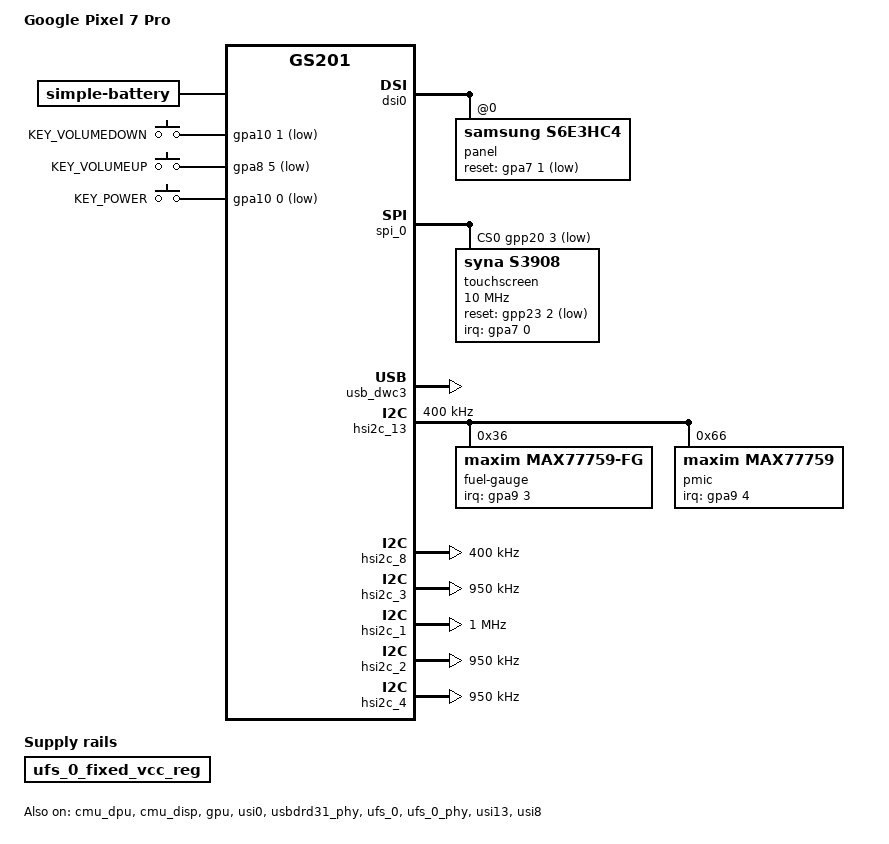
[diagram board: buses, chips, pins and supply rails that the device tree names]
// SPDX-License-Identifier: GPL-2.0-only
/*
 * Google Pixel 7 Pro (cheetah) - M1 bring-up board file.
 */

/dts-v1/;

#include <dt-bindings/input/input.h>
#include <dt-bindings/media/video-interfaces.h>
#include <dt-bindings/soc/samsung,exynos-usi.h>
#include <dt-bindings/usb/pd.h>
#include "gs201.dtsi"

/ {
	model = "Google Pixel 7 Pro";
	compatible = "google,gs201-cheetah", "google,gs201";

	/*
	 * ABL base-DTB match: (product id 0x09855000 | major rev). B0 = 1.
	 * Ship a second copy with 0x09855000 in the dtb section to be safe.
	 */
	soc_id = <0x09855001 0x0>;

	aliases {
		spi0 = &spi_0;
	};

	chosen {
		/*
		 * ABL requires bootargs to exist; it appends its own after these.
		 * mem_sleep_default=s2idle: the firmware offers PSCI system
		 * suspend, so "mem" would otherwise mean "deep", which needs a
		 * PMU sleep sequence the kernel doesn't have yet.
		 */
		bootargs = "console=tty0 fbcon=font:TER16x32 quiet splash plymouth.force-scale=1 vt.global_cursor_default=0 panic=10 clk_ignore_unused pd_ignore_unused rdinit=/init omamobile.ufs-probe mem_sleep_default=s2idle";
		#address-cells = <2>;
		#size-cells = <1>;
		ranges;

		framebuffer0: framebuffer@fac00000 {
			compatible = "simple-framebuffer";
			memory-region = <&cont_splash_mem>;
			width = <1440>;
			height = <3120>;
			stride = <(1440 * 4)>;
			format = "a8r8g8b8";
			panel = <&panel>;
			/*
			 * Only the panel's size is read; simplefb must not wait for
			 * the panel device (it appears with the DSI host driver).
			 */
			post-init-providers = <&panel>;
		};
	};

	battery: battery {
		compatible = "simple-battery";
		charge-full-design-microamp-hours = <4926000>;
		/* Google's fv-max-uv; VEmpty of the gauge model */
		voltage-max-design-microvolt = <4450000>;
		voltage-min-design-microvolt = <3300000>;
	};

	gpio-keys {
		compatible = "gpio-keys";
		pinctrl-0 = <&key_voldown>, <&key_volup>, <&key_power>;
		pinctrl-names = "default";

		button-vol-down {
			label = "KEY_VOLUMEDOWN";
			linux,code = <KEY_VOLUMEDOWN>;
			gpios = <&gpa10 1 GPIO_ACTIVE_LOW>;
			wakeup-source;
		};

		button-vol-up {
			label = "KEY_VOLUMEUP";
			linux,code = <KEY_VOLUMEUP>;
			gpios = <&gpa8 5 GPIO_ACTIVE_LOW>;
			wakeup-source;
		};

		/*
		 * PMIC_PWRON_OD_L: the S2MPG12 PWRONB line, also wired to the
		 * SoC. The PMIC's own long-press reset is unaffected.
		 */
		button-power {
			label = "KEY_POWER";
			linux,code = <KEY_POWER>;
			gpios = <&gpa10 0 GPIO_ACTIVE_LOW>;
			wakeup-source;
		};
	};

	/*
	 * UFS VCC. Google drives it from GPIO gpp0-1 (boot-on); there is no
	 * gs201 GPIO driver yet, so describe it as always on, as the
	 * bootloader leaves it.
	 */
	ufs_0_fixed_vcc_reg: regulator-ufs-vcc {
		compatible = "regulator-fixed";
		regulator-name = "ufs-vcc";
		regulator-always-on;
		regulator-boot-on;
	};

	reserved-memory {
		#address-cells = <2>;
		#size-cells = <1>;
		ranges;

		/*
		 * Camera capture buffers: the CSIS WDMA takes 32-bit addresses
		 * and its SysMMU is left in bypass, so frames go to contiguous
		 * memory below 4 GiB. Four 12.5 MP RAW10 frames are about
		 * 63 MiB; reusable, so the pages serve movable allocations while
		 * no camera streams.
		 */
		camera_pool: camera-pool {
			compatible = "shared-dma-pool";
			reusable;
			size = <0x8000000>;
			/* read with the root's #address-cells (2), not #size-cells */
			alignment = <0x0 0x200000>;
			alloc-ranges = <0x0 0x80000000 0x80000000>;
		};

		/* [I] verify against the ABL-injected node in /sys/firmware/fdt */
		/*
		 * Same region and layout as stock Android, so a log written by
		 * this kernel can be read from /sys/fs/pstore after a warm
		 * reboot into the stock slot.
		 */
		ramoops@fd3ff000 {
			compatible = "ramoops";
			reg = <0x0 0xfd3ff000 0x400000>;
			console-size = <0x200000>;
			pmsg-size = <0x200000>;
		};

		cont_splash_mem: splash@fac00000 {
			reg = <0x0 0xfac00000 (1440 * 3120 * 4)>;
			no-map;
		};
	};
};

&acpm_ipc {
	/*
	 * Main PMIC, for its RTC (the wake-up timer for suspend tests). The
	 * driver only reads and writes the RTC and the interrupt masks; the
	 * rails stay as the bootloader set them. Disabled until proven on
	 * the phone (SUSPEND-PLAN.md).
	 */
	pmic-1 {
		compatible = "samsung,s2mpg12-pmic";
		interrupts = <GIC_SPI 72 IRQ_TYPE_LEVEL_HIGH>;
		google,vgpio2ap-sysreg = <&sysreg_vgpio2ap>;
		wakeup-source;
		status = "disabled";
	};

	/*
	 * Sub PMIC, for its LDOs (GNSS first). Only the LDO control
	 * registers are writable through it, and only rails described
	 * below can be switched; the rest have no constraints and are left
	 * as the bootloader set them. No interrupt yet (gpa0-1 on stock).
	 * Disabled until proven on the phone (GNSS-PLAN.md, G1).
	 */
	pmic-2 {
		compatible = "samsung,s2mpg13-pmic";
		status = "disabled";

		/*
		 * GPIO0 wakes the camera PMIC (SLG51002 chip select), GPIO1
		 * enables PP3200_BB_CAM and GPIO3 PP1300_CAM; the others are
		 * unused on cheetah. Nothing here switches a pin: only the
		 * camera nodes below, disabled until camera-pwr-test, do.
		 */
		pmic_2_gpio: gpio {
			compatible = "samsung,s2mpg13-gpio";
			gpio-controller;
			#gpio-cells = <2>;
		};

		regulators {
			/*
			 * GNSS: L9S_GNSS_CORE, L10S_GNSS_RF, L11S_GNSS_AUX.
			 * The ranges are stock's, so nothing sets a voltage
			 * at probe; they are switched by the GNSS driver.
			 */
			ldo9s: ldo9s {
				regulator-name = "vdd_gnss_core";
				regulator-min-microvolt = <725000>;
				regulator-max-microvolt = <1300000>;
			};

			ldo10s: ldo10s {
				regulator-name = "vdd_gnss_rf";
				regulator-min-microvolt = <1600000>;
				regulator-max-microvolt = <1950000>;
			};

			ldo11s: ldo11s {
				regulator-name = "vdd_gnss_aux";
				regulator-min-microvolt = <1600000>;
				regulator-max-microvolt = <1950000>;
			};

			/*
			 * Fingerprint: L15S_UDFPS_AVDD, the sensor's analog
			 * supply, with stock's range. Off at hand-off (stock
			 * keeps it on only through regulator-always-on);
			 * switched by the goodix-fp driver.
			 */
			ldo15s: ldo15s {
				regulator-name = "vdd_udfps";
				regulator-min-microvolt = <2500000>;
				regulator-max-microvolt = <3300000>;
			};

			/*
			 * L12S_CAMIO: the 1.8 V I/O supply of every camera
			 * sensor, EEPROM, actuator and the laser AF. Stock
			 * voltage. Disabled (so not described, and never
			 * switched) until camera-pwr-test.
			 */
			ldo12s: ldo12s {
				regulator-name = "vddio_cam";
				regulator-min-microvolt = <1800000>;
				regulator-max-microvolt = <1800000>;
				status = "disabled";
			};
		};
	};
};

&dsi0 {
	/*
	 * The bootloader leaves DECON0 -> DSIM0 -> panel running in command
	 * mode; simplefb scans out its framebuffer and reads the panel size
	 * here. Enabled only for display bring-up (DISPLAY-PLAN.md, gate D1).
	 */
	status = "okay";

	panel: panel@0 {
		compatible = "samsung,s6e3hc4";
		reg = <0>;
		/* high = running; the bootloader leaves it high */
		reset-gpios = <&gpa7 1 GPIO_ACTIVE_LOW>;
		/* vddi (S2MPG13 BUCKA), vddd (S2MPG12 LDO28), vci (LDO27): no driver yet */
		width-mm = <71>;
		height-mm = <155>;
	};
};

/* Display bring-up, gate D1b: the DPU and DISP clock controllers. */
&cmu_dpu {
	status = "okay";
};

&cmu_disp {
	status = "okay";
};

&gpu {
	/* No mali-supply: the G3D rails follow the PMU power domain and ACPM. */
	status = "okay";
};

/* Touchscreen: Synaptics S3908 on USI0 SPI */
&usi0 {
	samsung,mode = <USI_MODE_SPI>;
	status = "okay";
};

&spi_0 {
	pinctrl-0 = <&spi0_bus &spi0_miso &spi0_cs_gpio>;
	cs-gpios = <&gpp20 3 GPIO_ACTIVE_LOW>;
	num-cs = <1>;
	status = "okay";

	/*
	 * The 1.8 V (VDD) and 3.3 V (AVDD) supplies are S2MPG12 LDO25M and
	 * LDO26M. There is no S2MPG12 regulator driver yet; the bootloader
	 * leaves both on.
	 */
	touchscreen@0 {
		compatible = "syna,s3908";
		reg = <0>;
		spi-max-frequency = <10000000>;
		interrupt-parent = <&gpa7>;
		interrupts = <0 IRQ_TYPE_LEVEL_LOW>;
		reset-gpios = <&gpp23 2 GPIO_ACTIVE_LOW>;
		pinctrl-0 = <&ts_irq &ts_reset>;
		pinctrl-names = "default";
		touchscreen-x-mm = <71>;
		touchscreen-y-mm = <154>;
	};
};

&usbdrd31_phy {
	status = "okay";
};

&usb_dwc3 {
	status = "okay";
};

&ufs_0 {
	vcc-supply = <&ufs_0_fixed_vcc_reg>;
	status = "okay";
};

&ufs_0_phy {
	status = "okay";
};

/*
 * MAX77759 (charger, Type-C port controller, fuel gauge) on USI13. All of
 * its interrupt lines are on ALIVE gpa9, active low with pull-ups.
 *
 * The Type-C port controller stays disabled: the USB link is our only way
 * into the phone, and TCPM would take over VBUS and data role from the
 * forced-VBUS setup the USB PHY uses today. The charger has no DT node of
 * its own (it is an MFD cell of pmic@66); note that its probe turns
 * charging off until a "tcpm-source" power supply reports a source, so do
 * not load it before the Type-C side works.
 */
&usi13 {
	samsung,mode = <USI_MODE_I2C>;
	status = "okay";
};

&hsi2c_13 {
	clock-frequency = <400000>;
	status = "okay";

	usb-typec@25 {
		compatible = "maxim,max77759-tcpci", "maxim,max33359";
		reg = <0x25>;
		interrupts-extended = <&gpa9 7 IRQ_TYPE_LEVEL_LOW>;
		pinctrl-0 = <&typec_int>;
		pinctrl-names = "default";
		status = "disabled";

		/*
		 * Power roles and PDOs as on gs101 (the same MAX77759 design).
		 * PD stays off, and the orientation/role-switch ports to the
		 * USB PHY and dwc3 come with the Type-C work.
		 */
		connector {
			compatible = "usb-c-connector";
			label = "USB-C";
			data-role = "dual";
			power-role = "dual";
			self-powered;
			try-power-role = "sink";
			op-sink-microwatt = <2600000>;
			source-pdos = <PDO_FIXED(5000, 900,
						 (PDO_FIXED_SUSPEND
						  | PDO_FIXED_USB_COMM
						  | PDO_FIXED_DATA_SWAP
						  | PDO_FIXED_DUAL_ROLE))>;
			sink-pdos = <PDO_FIXED(5000, 3000,
					       (PDO_FIXED_DATA_SWAP
						| PDO_FIXED_USB_COMM
						| PDO_FIXED_HIGHER_CAP
						| PDO_FIXED_DUAL_ROLE))
				     PDO_FIXED(9000, 2200, 0)
				     PDO_PPS_APDO(5000, 11000, 3000)>;
			pd-disable;
			typec-power-opmode = "default";
		};
	};

	fuel-gauge@36 {
		compatible = "maxim,max77759-fg";
		reg = <0x36>;
		interrupts-extended = <&gpa9 3 IRQ_TYPE_LEVEL_LOW>;
		pinctrl-0 = <&if_pmic_fg_int>;
		pinctrl-names = "default";
		/* maxim,rsense-default = <500> (10 uOhm units) in Google's tree */
		shunt-resistor-micro-ohms = <5000>;
		monitored-battery = <&battery>;

		/*
		 * Battery model for the pack with a 1 kOhm ID resistor, the one
		 * this phone has (stock: "device battery RID: 1 kohm"). From
		 * Google's gs201-cheetah-battery-data.dtsi (cos-a1-1k, model
		 * version 1), except RelaxCfg 0x143b and FilterCfg 0xc613, the
		 * values stock writes over the model's at boot (r_regval_1720x,
		 * filtercfg-default). TaskPeriod 0x2d00 makes one capacity LSB
		 * 2 mAh with 5 mOhm: DesignCap 0x09c5 = 5002 mAh.
		 */
		maxim,fg-model = /bits/ 16 <
			0xa4e0 0xb750 0xb8a0 0xba60 0xbc10 0xbdd0 0xbf30 0xc070
			0xc1e0 0xc4b0 0xc7f0 0xcd80 0xd130 0xd4e0 0xd920 0xdca0
			0x0120 0x1240 0x0c00 0x12a0 0x1400 0x1700 0x1060 0x0fd0
			0x07e0 0x07f0 0x07c0 0x06d0 0x06c0 0x06f0 0x0640 0x0640
			0x0200 0x0200 0x0200 0x0200 0x0200 0x0200 0x0200 0x0200
			0x0200 0x0200 0x0200 0x0200 0x0200 0x0200 0x0200 0x0200
		>;
		maxim,fg-params = /bits/ 16 <
			0xf060	/* IAvgEmpty */
			0x143b	/* RelaxCfg */
			0x260e	/* LearnCfg */
			0x4217	/* Config: external thermistor, TEx clear */
			0x0090	/* Config2 */
			0x5f00	/* FullSOCThr */
			0x09c5	/* FullCapRep */
			0x09c5	/* DesignCap */
			0x3200	/* dPAcc */
			0x0271	/* dQAcc */
			0x09c5	/* FullCapNom */
			0xa561	/* VEmpty */
			0x2080	/* QRTable00 */
			0x0e80	/* QRTable10 */
			0x0580	/* QRTable20 */
			0x0480	/* QRTable30 */
			0x0770	/* RComp0 */
			0x2202	/* TempCo */
			0x0628	/* IChgTerm */
			0xed51	/* TGain */
			0x1eba	/* TOff */
			0x0014	/* Curve */
			0x3870	/* MiscCfg */
			0x1900	/* AtRate */
			0x2241	/* ConvgCfg */
			0xc613	/* FilterCfg */
			0x2d00	/* TaskPeriod */
		>;
	};

	pmic@66 {
		compatible = "maxim,max77759";
		reg = <0x66>;
		interrupts-extended = <&gpa9 4 IRQ_TYPE_LEVEL_LOW>;
		pinctrl-0 = <&if_pmic_int>;
		pinctrl-names = "default";
		interrupt-controller;
		#interrupt-cells = <2>;

		gpio {
			compatible = "maxim,max77759-gpio";
			gpio-controller;
			#gpio-cells = <2>;
			interrupt-controller;
			#interrupt-cells = <2>;
		};
	};
};

/*
 * PERIC0 USI8 (Google's I2C bus 8) carries the camera PMIC; its bus pins
 * are on PERIC0 (gpp16-0/1).
 */
&pinctrl_peric0 {
	status = "okay";
};

&usi8 {
	samsung,mode = <USI_MODE_I2C>;
	status = "okay";
};

&hsi2c_8 {
	clock-frequency = <400000>;
	status = "okay";
};

&pinctrl_gpio_alive {
	if_pmic_fg_int: if-pmic-fg-int-pins {
		samsung,pins = "gpa9-3";
		samsung,pin-function = <GS101_PIN_FUNC_EINT>;
		samsung,pin-pud = <GS101_PIN_PULL_UP>;
		samsung,pin-drv = <GS101_PIN_DRV_2_5_MA>;
	};

	if_pmic_int: if-pmic-int-pins {
		samsung,pins = "gpa9-4";
		samsung,pin-function = <GS101_PIN_FUNC_EINT>;
		samsung,pin-pud = <GS101_PIN_PULL_UP>;
		samsung,pin-drv = <GS101_PIN_DRV_2_5_MA>;
	};

	typec_int: typec-int-pins {
		samsung,pins = "gpa9-7";
		samsung,pin-function = <GS101_PIN_FUNC_EINT>;
		samsung,pin-pud = <GS101_PIN_PULL_UP>;
		samsung,pin-drv = <GS101_PIN_DRV_2_5_MA>;
	};
};

/*
 * Camera power (CAMERA-PLAN.md 1.2), from Google's GPL pantah camera PMIC
 * device tree: two fixed supplies switched by S2MPG13 GPIOs feed the
 * SLG51002 camera PMIC on I2C bus 8, which with LDO12S powers the modules.
 * Voltages are stock's. All disabled until the camera-pwr-test overlay; the
 * new drivers are blacklisted from autoload as well.
 */
/ {
	pp3200_bb_cam: regulator-pp3200-bb-cam {
		compatible = "regulator-fixed";
		regulator-name = "PP3200_BB_CAM";
		regulator-min-microvolt = <3200000>;
		regulator-max-microvolt = <3200000>;
		regulator-enable-ramp-delay = <2000>;
		gpio = <&pmic_2_gpio 1 GPIO_ACTIVE_HIGH>;
		enable-active-high;
		status = "disabled";
	};

	pp1300_cam: regulator-pp1300-cam {
		compatible = "regulator-fixed";
		regulator-name = "PP1300_CAM";
		regulator-min-microvolt = <1300000>;
		regulator-max-microvolt = <1300000>;
		regulator-enable-ramp-delay = <2000>;
		gpio = <&pmic_2_gpio 3 GPIO_ACTIVE_HIGH>;
		enable-active-high;
		status = "disabled";
	};
};

&hsi2c_8 {
	cam_pmic: pmic@75 {
		compatible = "dlg,slg51002";
		reg = <0x75>;
		dlg,cs-gpios = <&pmic_2_gpio 0 GPIO_ACTIVE_HIGH>;
		vin1-2-supply = <&pp3200_bb_cam>;
		vin3-supply = <&pp3200_bb_cam>;
		vin4-supply = <&pp3200_bb_cam>;
		vin5-supply = <&pp3200_bb_cam>;
		vin6-supply = <&pp1300_cam>;
		vin7-supply = <&pp1300_cam>;
		vin8-supply = <&pp1300_cam>;
		status = "disabled";

		regulators {
			cam_ldo1: ldo1 {
				regulator-name = "vdda_main";
				regulator-min-microvolt = <2850000>;
				regulator-max-microvolt = <2850000>;
			};

			cam_ldo2: ldo2 {
				regulator-name = "vdda_uw";
				regulator-min-microvolt = <2850000>;
				regulator-max-microvolt = <2850000>;
			};

			cam_ldo3: ldo3 {
				regulator-name = "vdda_tele";
				regulator-min-microvolt = <2250000>;
				regulator-max-microvolt = <2250000>;
			};

			cam_ldo4: ldo4 {
				regulator-name = "vdd_main_af";
				regulator-min-microvolt = <2900000>;
				regulator-max-microvolt = <2900000>;
			};

			cam_ldo5: ldo5 {
				regulator-name = "vdd_tele_module";
				regulator-min-microvolt = <2850000>;
				regulator-max-microvolt = <2850000>;
			};

			cam_ldo6: ldo6 {
				regulator-name = "vddd_uw";
				regulator-min-microvolt = <1100000>;
				regulator-max-microvolt = <1100000>;
			};

			cam_ldo7: ldo7 {
				regulator-name = "vddd_tele";
				regulator-min-microvolt = <1000000>;
				regulator-max-microvolt = <1000000>;
			};

			cam_ldo8: ldo8 {
				regulator-name = "vddd_main_front";
				regulator-min-microvolt = <1100000>;
				regulator-max-microvolt = <1100000>;
			};

			cam_sw1: sw1 {
				regulator-name = "cam_sw1";
			};

			cam_sw2: sw2 {
				regulator-name = "cam_sw2";
			};

			cam_sw3: sw3 {
				regulator-name = "cam_sw3";
			};

			cam_sw4: sw4 {
				regulator-name = "cam_sw4";
			};
		};
	};
};

/*
 * Ultrawide camera module on PERIC0 USI3 (Google's I2C bus 3): sensor at
 * 0x1a (16-bit addresses, 8-bit values), module EEPROM at 0x50 (not
 * described), AF actuator at 0x0f. Stock power-up: PP3200_BB, PP1300,
 * LDO12S, LDO6, LDO2, 1 ms, MCLK on (CIS_CLK0 on gpp3-0), 1 ms, reset
 * released, 10 ms.
 */
&usi3 {
	samsung,mode = <USI_MODE_I2C>;
};

&hsi2c_3 {
	clock-frequency = <950000>;

};

&pinctrl_peric0 {
	cam_uw_mclk_on: cam-uw-mclk-on-pins {
		samsung,pins = "gpp3-0";
		samsung,pin-function = <GS101_PIN_FUNC_2>;
		samsung,pin-pud = <GS101_PIN_PULL_NONE>;
		samsung,pin-drv = <GS101_PIN_DRV_2_5_MA>;
	};
};

/*
 * Ultrawide capture (CAMERA-PLAN.md CAM3b/CAM4): the Sony IMX386 [HAL model
 * ID 0x0386] on four D-PHY lanes at 1548 Mbps per lane, through CSIS link 2
 * (DC-PHY slaves 2 and 3 as one four-lane receiver) and CSIS WDMA context 0
 * to memory. With the sensor streaming, links 0 and 1 see nothing; link 2 is
 * where its data arrives. All disabled; the camera-stream-link2 overlay
 * enables the path and the drivers are blacklisted as well. The MCLK runs
 * from the 24.576 MHz oscillator, as the stock sensor settings expect.
 */
&hsi2c_3 {
	camera-sensor@1a {
		compatible = "sony,imx386";
		reg = <0x1a>;
		clocks = <&cmu_top CLK_DOUT_CMU_CIS_CLK0>;
		assigned-clocks = <&cmu_top CLK_DOUT_CMU_CIS_CLK0>;
		assigned-clock-rates = <24576000>;
		pinctrl-names = "default";
		pinctrl-0 = <&cam_uw_mclk_on>;
		reset-gpios = <&gpp6 3 GPIO_ACTIVE_LOW>;
		/* stock's order: PP3200_BB, PP1300, LDO12S, LDO6, LDO2 */
		vbb-supply = <&pp3200_bb_cam>;
		vbuck-supply = <&pp1300_cam>;
		vif-supply = <&ldo12s>;
		vdig-supply = <&cam_ldo6>;
		vana-supply = <&cam_ldo2>;
		firmware-name = "omamobile/camera/imx386-uw.bin";
		/* 360 still let an odd frame of the 4032x3016 mode drop lines */
		sony,max-line-throughput = <330>;
		orientation = <1>;	/* back */
		rotation = <270>;	/* mounted the other way from the main camera (upside down at 90) */
		status = "disabled";

		port {
			uw_out: endpoint {
				remote-endpoint = <&csis2_in>;
				data-lanes = <1 2 3 4>;
				link-frequencies = /bits/ 64 <774144000>;
			};
		};
	};
};

&csis2 {
	memory-region = <&camera_pool>;
};

&csis2_in {
	remote-endpoint = <&uw_out>;
	data-lanes = <1 2 3 4>;
};

&csis_dcphy {
	/* receive settings, generated from the phone's own camera software */
	firmware-name = "omamobile/camera/gs201-dcphy.bin";
};

/*
 * Ultrawide focus (CAMERA-PLAN.md CAM5.3): an AKM AK7375-type VCM driver at
 * 0x0f on the ultrawide's bus (stock "act-slenderman-sandworm"), on LDO12S
 * and the camera PMIC's LDO4 (2.9 V). Disabled; the camera-uw-lens overlay
 * enables it and links it to the sensor (lens-focus), and the ak7375
 * module must then load with the others or the media graph waits for it.
 */
&hsi2c_3 {
	uw_vcm: lens@f {
		compatible = "asahi-kasei,ak7375";
		reg = <0x0f>;
		vdd-supply = <&cam_ldo4>;
		vio-supply = <&ldo12s>;
		status = "disabled";
	};
};

/*
 * Main camera (CAMERA-PLAN.md CAM-M): the Samsung S5KGN1 [chip ID 0x08e1]
 * at 0x3d on PERIC0 USI1 (Google's I2C bus 1, 1 MHz as stock), three C-PHY
 * trios to CSIS link 1, then CSIS WDMA context 0 as the ultrawide. Its AF
 * VCM driver is an AK7375-type at 0x0c; the module's OIS/EEPROM controller
 * (0x24) and the laser AF (0x29) on the same bus are not described. Stock
 * power-up: PP3200_BB, PP1300, LDO12S, LDO4, 1 ms, SLG switch 3, LDO8,
 * LDO1, 2 ms, reset released, 1 ms, MCLK on (CIS_CLK3 on gpp9-0), 9 ms.
 * The sensor settings expect a 24.576 MHz clock (their EXCK register).
 * All disabled; the camera-main overlay enables them, and the drivers are
 * blacklisted as well.
 */
&usi1 {
	samsung,mode = <USI_MODE_I2C>;
};

&hsi2c_1 {
	clock-frequency = <1000000>;

	main_vcm: lens@c {
		compatible = "asahi-kasei,ak7375";
		reg = <0x0c>;
		vdd-supply = <&cam_ldo4>;
		vio-supply = <&ldo12s>;
		status = "disabled";
	};

	camera-sensor@3d {
		compatible = "samsung,s5kgn1";
		reg = <0x3d>;
		clocks = <&cmu_top CLK_DOUT_CMU_CIS_CLK3>;
		assigned-clocks = <&cmu_top CLK_DOUT_CMU_CIS_CLK3>;
		assigned-clock-rates = <24576000>;
		pinctrl-names = "default";
		pinctrl-0 = <&cam_main_mclk_on>;
		reset-gpios = <&gpp2 2 GPIO_ACTIVE_LOW>;
		vbb-supply = <&pp3200_bb_cam>;
		vbuck-supply = <&pp1300_cam>;
		vio-supply = <&ldo12s>;
		vaux-supply = <&cam_ldo4>;
		vsw-supply = <&cam_sw3>;
		vdig-supply = <&cam_ldo8>;
		vana-supply = <&cam_ldo1>;
		firmware-name = "omamobile/camera/s5kgn1-main.bin";
		/* the CSIS WDMA drops lines arriving above ~400 MB/s */
		samsung,max-line-throughput = <360>;
		orientation = <1>;	/* back */
		rotation = <90>;	/* upright in Snapshot with the phone in portrait */
		status = "disabled";

		port {
			main_out: endpoint {
				remote-endpoint = <&csis1_in>;
				bus-type = <MEDIA_BUS_TYPE_CSI2_CPHY>;
				data-lanes = <1 2 3>;
				/* half the trio symbol rate [I], from the data file */
				link-frequencies = /bits/ 64 <931229968>;
			};
		};
	};
};

&pinctrl_peric0 {
	cam_main_mclk_on: cam-main-mclk-on-pins {
		samsung,pins = "gpp9-0";
		samsung,pin-function = <GS101_PIN_FUNC_2>;
		samsung,pin-pud = <GS101_PIN_PULL_NONE>;
		samsung,pin-drv = <GS101_PIN_DRV_2_5_MA>;
	};
};

&csis1 {
	memory-region = <&camera_pool>;
};

&csis1_in {
	remote-endpoint = <&main_out>;
	bus-type = <MEDIA_BUS_TYPE_CSI2_CPHY>;
	data-lanes = <1 2 3>;
};

/*
 * Front camera (CAMERA-PLAN.md CAM7): the Samsung S5K3J1 [chip ID 0x30a1]
 * at 0x10 on PERIC0 USI2 (Google's I2C bus 2, 950 kHz as stock), four
 * D-PHY lanes to CSIS link 0, then CSIS WDMA context 0 as the others. Fixed
 * focus; the module EEPROM at 0x51 is not described. Stock power-up:
 * PP3200_BB, PP1300, LDO12S, LDO8, SLG switch 4, 1 ms, MCLK on (CIS_CLK1
 * on gpp5-0), 1 ms, reset released (gpp4-2), 8 ms. Its settings expect the
 * 24.576 MHz oscillator as the other cameras' do. All disabled; the
 * camera-front overlay enables them, and the drivers are blacklisted.
 */
&usi2 {
	samsung,mode = <USI_MODE_I2C>;
};

&hsi2c_2 {
	clock-frequency = <950000>;

	camera-sensor@10 {
		compatible = "samsung,s5k3j1";
		reg = <0x10>;
		clocks = <&cmu_top CLK_DOUT_CMU_CIS_CLK1>;
		assigned-clocks = <&cmu_top CLK_DOUT_CMU_CIS_CLK1>;
		assigned-clock-rates = <24576000>;
		pinctrl-names = "default";
		pinctrl-0 = <&cam_front_mclk_on>;
		reset-gpios = <&gpp4 2 GPIO_ACTIVE_LOW>;
		vbb-supply = <&pp3200_bb_cam>;
		vbuck-supply = <&pp1300_cam>;
		vio-supply = <&ldo12s>;
		vdig-supply = <&cam_ldo8>;
		vsw-supply = <&cam_sw4>;
		firmware-name = "omamobile/camera/s5k3j1-front.bin";
		samsung,max-line-throughput = <360>;
		orientation = <0>;	/* front */
		rotation = <90>;	/* upside down at 270 in Snapshot */
		status = "disabled";

		port {
			front_out: endpoint {
				remote-endpoint = <&csis0_in>;
				data-lanes = <1 2 3 4>;
				/* 1665 Mbps per lane, from the data file [I] */
				link-frequencies = /bits/ 64 <832512000>;
			};
		};
	};
};

&csis0 {
	memory-region = <&camera_pool>;
};

&csis0_in {
	remote-endpoint = <&front_out>;
	data-lanes = <1 2 3 4>;
};

/*
 * Telephoto (CAMERA-PLAN.md CAM-T): the Samsung S5KGM5 [chip ID 0x08d5] at
 * 0x2d on PERIC0 USI4 (Google's I2C bus 4, 1 MHz as stock), two C-PHY
 * trios to CSIS link 4 / DC-PHY slave 4, which also needs to expect its
 * LRTE packet delimiters [I]. The folded optics mirror the image, which
 * the sensor undoes with a vertical readout flip [I]. Stock power-up:
 * PP3200_BB, PP1300, LDO12S, 0.3 ms, LDO7, LDO3, MCLK on (CIS_CLK2 on
 * gpp7-0), 1 ms, reset released (gpp6-2), 10 ms. Its SEM1215SA at 0x34
 * drives focus and OIS and holds the module's calibration; stock powers
 * it from LDO12S, 1 ms, SLG LDO5 2.85 V and switch 1. gpp8-2 (the torch's
 * HWEN) shares the bank with this bus's pins. All disabled; the
 * camera-tele overlay enables them, and the drivers are blacklisted.
 */
&usi4 {
	samsung,mode = <USI_MODE_I2C>;
};

&hsi2c_4 {
	/*
	 * Below 1 MHz: i2c-exynos5 runs 1 MHz as high-speed mode (master
	 * code first), which stock's driver doesn't without samsung,hs-mode;
	 * the telephoto's SEM1215SA lens hung the bus in it.
	 */
	clock-frequency = <950000>;

	camera-sensor@2d {
		compatible = "samsung,s5kgm5";
		reg = <0x2d>;
		clocks = <&cmu_top CLK_DOUT_CMU_CIS_CLK2>;
		assigned-clocks = <&cmu_top CLK_DOUT_CMU_CIS_CLK2>;
		assigned-clock-rates = <24576000>;
		pinctrl-names = "default";
		pinctrl-0 = <&cam_tele_mclk_on>;
		reset-gpios = <&gpp6 2 GPIO_ACTIVE_LOW>;
		vbb-supply = <&pp3200_bb_cam>;
		vbuck-supply = <&pp1300_cam>;
		vio-supply = <&ldo12s>;
		vdig-supply = <&cam_ldo7>;
		vana-supply = <&cam_ldo3>;
		firmware-name = "omamobile/camera/s5kgm5-tele.bin";
		samsung,max-line-throughput = <360>;
		samsung,vertical-flip;
		orientation = <1>;	/* back */
		rotation = <270>;	/* with the vertical flip: upside down at 90 in Snapshot */
		status = "disabled";

		port {
			tele_out: endpoint {
				remote-endpoint = <&csis4_in>;
				bus-type = <MEDIA_BUS_TYPE_CSI2_CPHY>;
				data-lanes = <1 2>;
				/* half the trio symbol rate per mode, from the data file [I] */
				link-frequencies = /bits/ 64 <901120000 1019904000>;
			};
		};
	};

	tele_lens: lens@34 {
		compatible = "semco,sem1215sa";
		reg = <0x34>;
		vbb-supply = <&pp3200_bb_cam>;
		vio-supply = <&ldo12s>;
		vdd-supply = <&cam_ldo5>;
		vsw-supply = <&cam_sw1>;
		status = "disabled";
	};
};

&csis4 {
	memory-region = <&camera_pool>;
	google,lrte-packet-delimiters;
};

&csis4_in {
	remote-endpoint = <&tele_out>;
	bus-type = <MEDIA_BUS_TYPE_CSI2_CPHY>;
	data-lanes = <1 2>;
};

&pinctrl_peric0 {
	cam_front_mclk_on: cam-front-mclk-on-pins {
		samsung,pins = "gpp5-0";
		samsung,pin-function = <GS101_PIN_FUNC_2>;
		samsung,pin-pud = <GS101_PIN_PULL_NONE>;
		samsung,pin-drv = <GS101_PIN_DRV_2_5_MA>;
	};

	cam_tele_mclk_on: cam-tele-mclk-on-pins {
		samsung,pins = "gpp7-0";
		samsung,pin-function = <GS101_PIN_FUNC_2>;
		samsung,pin-pud = <GS101_PIN_PULL_NONE>;
		samsung,pin-drv = <GS101_PIN_DRV_2_5_MA>;
	};
};
